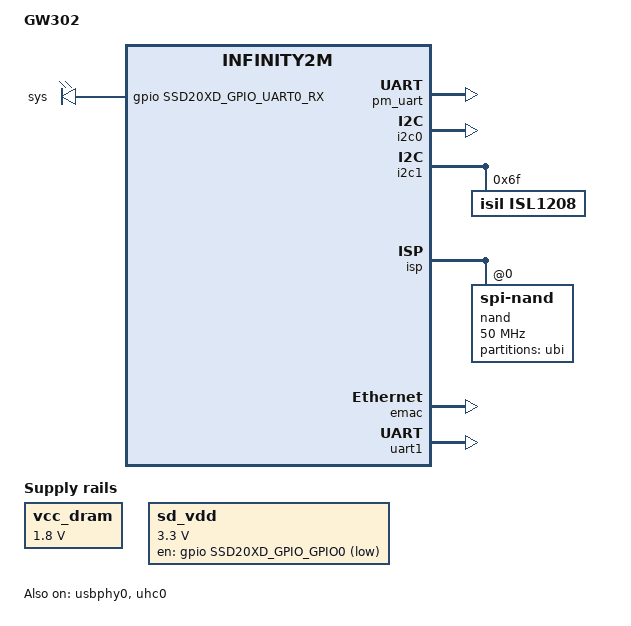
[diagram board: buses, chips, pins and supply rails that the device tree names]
// SPDX-License-Identifier: GPL-2.0-or-later
/*
 * Copyright (c) 2020 thingy.jp.
 * Author: Daniel Palmer <daniel@thingy.jp>
 */

/dts-v1/;
#include "mstar-infinity2m-ssd202d.dtsi"

/ {
	model = "GW302";
	compatible = "myzr,gw302", "mstar,infinity2m";

	aliases {
		serial0 = &pm_uart;
	};

	chosen {
		stdout-path = "serial0:115200n8";
		bootargs = "console=ttyS0,115200 clk_ignore_unused earlyprintk ubi.mtd=1 ubi.block=0,rootfs root=/dev/ubiblock0_4 squashfs";
	};

	vcc_dram: fixedregulator@1 {
		compatible = "regulator-fixed";
		regulator-name = "vcc_dram";
		regulator-min-microvolt = <1800000>;
		regulator-max-microvolt = <1800000>;
		regulator-boot-on;
	};

	sd_vdd: fixedregulator@0 {
		compatible = "regulator-fixed";
		regulator-name = "sd_vdd";
		regulator-min-microvolt = <3300000>;
		regulator-max-microvolt = <3300000>;
		gpio = <&gpio SSD20XD_GPIO_GPIO0 0>;
	};
	
	leds {
		compatible = "gpio-leds";
		sys {
			gpios = <&gpio SSD20XD_GPIO_UART0_RX GPIO_ACTIVE_HIGH>;
			linux,default-trigger = "heartbeat";
		};
	};
};

&pm_uart {
	status = "okay";
};

&i2c0 {
	/delete-property/ pinctrl-names;
	/delete-property/ pinctrl-0;
	status = "okay";
};

&i2c1 {
	pinctrl-names = "default";
	pinctrl-0 = <&i2c1_mode1_pins>;
	status = "okay";
	isl1208: rtc@6f {
		compatible = "isil,isl1208";
		reg = <0x6f>;
	};
};

&isp {
	status = "okay";
	nand: nand@0 {
		#address-cells = <1>;
		#size-cells = <1>;
		compatible = "spi-nand";
		reg = <0>;
		spi-max-frequency = <50000000>;
		spi-rx-bus-width = <4>;
		partitions {
			compatible = "fixed-partitions";
			#address-cells = <1>;
			#size-cells = <1>;
			ubi@2c0000-0x000008000000 {
				label = "ubi";
				reg = <0x2c0000 0x7d40000>;
			};
		};
	};
};

&emac {
	pinctrl-names = "default";
	pinctrl-0 = <&pm_led_mode1_pins>;
	status = "okay";
};

&usbphy0 {
	status = "okay";
};

&uhc0 {
	status = "okay";
};

&miu {
	ddr-supply = <&vcc_dram>;
};

&fuart {
	pinctrl-names = "default";
	pinctrl-0 = <&fuart_mode2_pins>;
//	status = "okay";
};

&uart1 {
	pinctrl-names = "default";
	pinctrl-0 = <&uart1_mode1_pins>;
	status = "okay";
};
